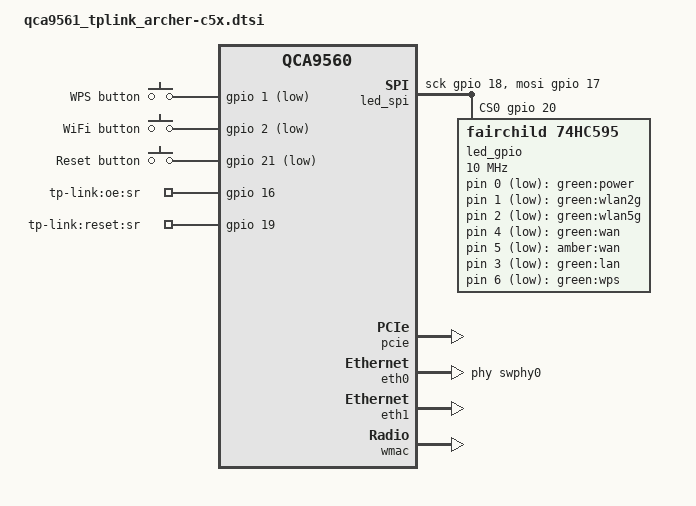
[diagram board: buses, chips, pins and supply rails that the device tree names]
// SPDX-License-Identifier: GPL-2.0-or-later OR MIT

#include "qca956x.dtsi"

#include <dt-bindings/gpio/gpio.h>
#include <dt-bindings/input/input.h>

/ {
	compatible = "tplink,archer-c5x", "qca,qca9560";

	aliases {
		led-boot = &led_power;
		led-failsafe = &led_power;
		led-running = &led_power;
		led-upgrade = &led_power;
	};

	led_spi {
		compatible = "spi-gpio";
		#address-cells = <1>;
		#size-cells = <0>;

		sck-gpios = <&gpio 18 GPIO_ACTIVE_HIGH>;
		mosi-gpios = <&gpio 17 GPIO_ACTIVE_HIGH>;
		cs-gpios = <&gpio 20 GPIO_ACTIVE_HIGH>;
		num-chipselects = <1>;

		led_gpio: led_gpio@0 {
			compatible = "fairchild,74hc595";
			reg = <0>;
			gpio-controller;
			#gpio-cells = <2>;
			registers-number = <1>;
			spi-max-frequency = <10000000>;
		};
	};

	leds: leds {
		compatible = "gpio-leds";

		led_power: power {
			label = "green:power";
			gpios = <&led_gpio 0 GPIO_ACTIVE_LOW>;
			default-state = "on";
		};

		wlan2g {
			label = "green:wlan2g";
			gpios = <&led_gpio 1 GPIO_ACTIVE_LOW>;
			linux,default-trigger = "phy1tpt";
		};

		wlan5g {
			label = "green:wlan5g";
			gpios = <&led_gpio 2 GPIO_ACTIVE_LOW>;
			linux,default-trigger = "phy0tpt";
		};

		wan_green {
			label = "green:wan";
			gpios = <&led_gpio 4 GPIO_ACTIVE_LOW>;
		};

		wan_amber {
			label = "amber:wan";
			gpios = <&led_gpio 5 GPIO_ACTIVE_LOW>;
		};

		lan {
			label = "green:lan";
			gpios = <&led_gpio 3 GPIO_ACTIVE_LOW>;
		};

		wps {
			label = "green:wps";
			gpios = <&led_gpio 6 GPIO_ACTIVE_LOW>;
		};
	};

	keys {
		compatible = "gpio-keys";

		wps {
			label = "WPS button";
			linux,code = <KEY_WPS_BUTTON>;
			gpios = <&gpio 1 GPIO_ACTIVE_LOW>;
		};

		wifi {
			label = "WiFi button";
			linux,code = <KEY_RFKILL>;
			gpios = <&gpio 2 GPIO_ACTIVE_LOW>;
		};

		reset {
			label = "Reset button";
			linux,code = <KEY_RESTART>;
			gpios = <&gpio 21 GPIO_ACTIVE_LOW>;
		};
	};

	gpio-export {
		compatible = "gpio-export";

		gpio_shift_register_oe {
			gpio-export,name = "tp-link:oe:sr";
			gpio-export,output = <0>;
			gpios = <&gpio 16 GPIO_ACTIVE_HIGH>;
		};

		gpio_shift_register_reset {
			gpio-export,name = "tp-link:reset:sr";
			gpio-export,output = <1>;
			gpios = <&gpio 19 GPIO_ACTIVE_HIGH>;
		};
	};
};

&pcie {
	status = "okay";
};

&eth0 {
	status = "okay";

	phy-handle = <&swphy0>;

	gmac-config {
		device = <&gmac>;

		switch-phy-addr-swap = <1>;
		switch-phy-swap = <1>;
	};
};

&eth1 {
	status = "okay";
};

&wmac {
	status = "okay";
};
